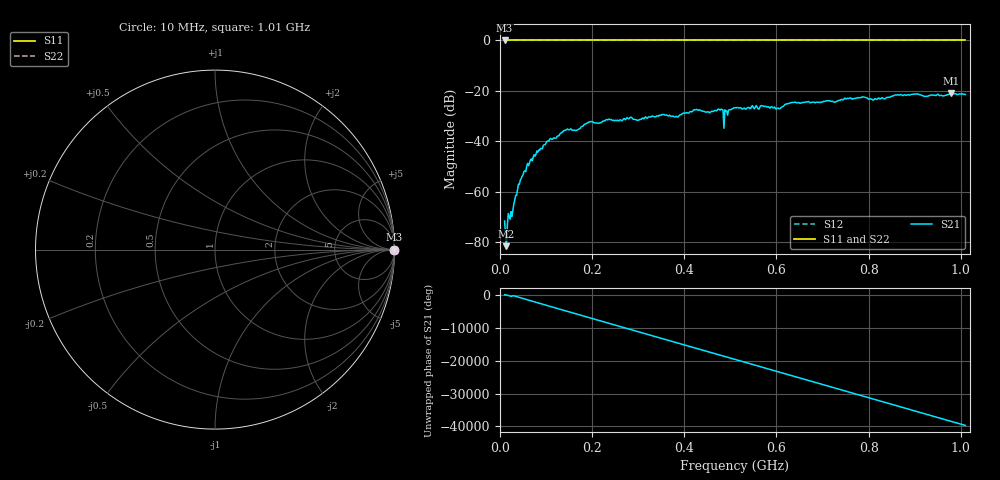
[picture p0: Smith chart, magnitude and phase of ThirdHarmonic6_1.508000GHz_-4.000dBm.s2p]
! 8/16/2025 5:44:34 PM
! C:\ANRITSUVNA\TEMP\TEMP.S2P
! CHANNEL.1
! TR.MEASUREMENT
! RAW.DATA
! RF.CORRECTION.OFF
! AVERAGING.OFF
! IF.BANDWIDTH: 5KHZ
! SWEEPTYPE:  FREQ.SWEEP(Linear)
! Reference Plane Port Info
! PORT:  PORT1  PORT2
! DISTANCE:  0  m  0  m
! TIME:  0  s  0  s
! PHASE.OFFSET:  0  deg.  0  deg.
! LOSS:  0  dB  0  dB
! REF.LOSS:  0  dB  0  dB
! REF.FREQ:  0  Hz  0  Hz
! Power Info
! POWER:  -20  dBm  -20  dBm
! EFF.POWER:  -20  dBm  -20  dBm
! SOURCE.ATTEN:  0  dB  0  dB
! TEST.ATTEN:  0  dB  0  dB
# GHZ S RI R 50.0
! FREQ.GHZ  S11RE  S11IM  S21RE  S21IM  S12RE  S12IM  S22RE  S22IM
!; PortSelection: Port_12
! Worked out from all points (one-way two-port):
!   501 points, 10 MHz to 1.01 GHz, reference 50 ohm
!   highest |S21| = -20.98 dB at 978 MHz (marker M1); lowest = -81.6 dB at 14 MHz (marker M2)
!   lowest |S11| = 0.0 dB at 10 MHz (marker M3)
!   |S11| at or under -10 dB: nowhere
!   |S22| runs from 0.0 to 0.0 dB; largest |S21 - S12| = 1.1
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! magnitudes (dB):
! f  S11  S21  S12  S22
! 10 MHz  0.0  -71.6  0.0  0.0
! 14 MHz  0.0  -81.6  0.0  0.0
! 26 MHz  0.0  -69.8  0.0  0.0
! 44 MHz  0.0  -55.4  0.0  0.0
! 70 MHz  0.0  -47.7  0.0  0.0
! 106 MHz  0.0  -39.8  0.0  0.0
! 142 MHz  0.0  -35.6  0.0  0.0
! 178 MHz  0.0  -34.1  0.0  0.0
! 196 MHz  0.0  -32.2  0.0  0.0
! 344 MHz  0.0  -30.0  0.0  0.0
! 382 MHz  0.0  -30.1  0.0  0.0
! 424 MHz  0.0  -27.5  0.0  0.0
! 478 MHz  0.0  -27.6  0.0  0.0
! 490 MHz  0.0  -27.9  0.0  0.0
! 492 MHz  0.0  -28.0  0.0  0.0
! 510 MHz  0.0  -26.6  0.0  0.0
! 604 MHz  0.0  -26.8  0.0  0.0
! 632 MHz  0.0  -24.6  0.0  0.0
! 678 MHz  0.0  -24.5  0.0  0.0
! 844 MHz  0.0  -22.5  0.0  0.0
! 978 MHz  0.0  -21.0  0.0  0.0
! 1.01 GHz  0.0  -21.4  0.0  0.0
